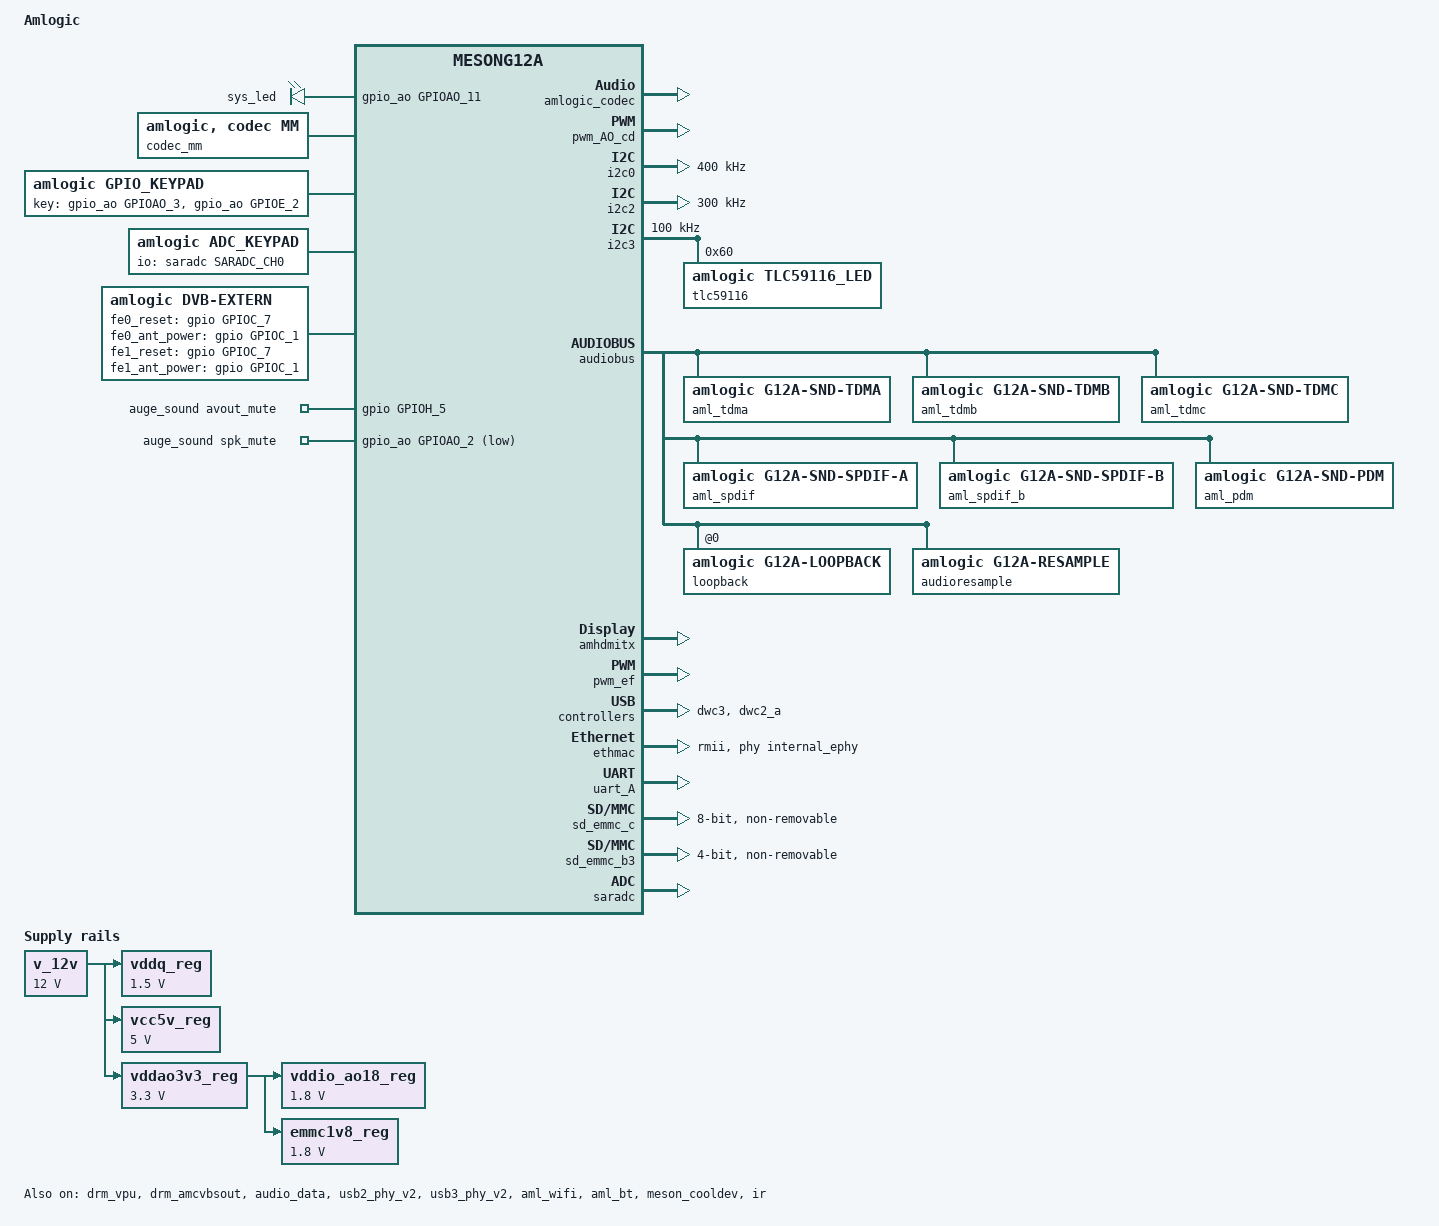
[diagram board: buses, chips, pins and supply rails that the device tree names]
// SPDX-License-Identifier: (GPL-2.0+ OR MIT)
/*
 * Copyright (c) 2019 Amlogic, Inc. All rights reserved.
 */

/dts-v1/;

#include "mesong12a.dtsi"
#include "partition_mbox_normal_dynamic.dtsi"
#include "mesong12a_drm.dtsi"
/ {
	model = "Amlogic";
	amlogic-dt-id = "g12a_u215_2g";
	compatible = "amlogic, g12a";
	interrupt-parent = <&gic>;
	#address-cells = <2>;
	#size-cells = <2>;

	aliases {
		serial0 = &uart_AO;
		serial1 = &uart_A;
		serial2 = &uart_B;
		serial3 = &uart_C;
		serial4 = &uart_AO_B;
		tsensor0 = &p_tsensor;
		tsensor1 = &d_tsensor;
		i2c0 = &i2c0;
		i2c1 = &i2c1;
		i2c2 = &i2c2;
		i2c3 = &i2c3;
		i2c4 = &i2c_AO;
		spi0 = &spicc0;
		spi1 = &spicc1;
	};

	memory@00000000 {
		device_type = "memory";
		linux,usable-memory = <0x0 0x000000 0x0 0x80000000>;
	};

	reserved-memory {
		#address-cells = <2>;
		#size-cells = <2>;
		ranges;
		/* global autoconfigured region for contiguous allocations */
		ramoops@0x07400000 {
			compatible = "ramoops";
			reg = <0x0 0x07400000 0x0 0x00100000>;
			record-size = <0x20000>;
			console-size = <0x40000>;
			ftrace-size = <0x80000>;
			pmsg-size = <0x20000>;
		};
		debug_reserved:linux,iotrace {
			compatible = "amlogic, iotrace";
			reg = <0x0 0x04f00000 0x0 0x00100000>;
			io-size = <0x1b000>;
			sched-size = <0x2000>;
			irq-size = <0x1000>;
			smc-size = <0x1000>;
			misc-size = <0x1000>;
		};
		defendkey_reserved:linux,defendkey {
			compatible = "amlogic, defendkey";
			reg = <0x0 0x04e00000 0x0 0x100000>;
		};
		secmon_reserved:linux,secmon {
			compatible = "shared-dma-pool";
			/*reusable;*/
			no-map;
			size = <0x0 0x400000>;
			alignment = <0x0 0x400000>;
			alloc-ranges = <0x0 0x05000000 0x0 0x2400000>;
		};

		logo_reserved:linux,meson-fb {
			compatible = "amlogic, meson-fb";
			alignment = <0x0 0x400000>;
			reg = <0x0 0x7f800000 0x0 0x800000>;
		};
		ion_cma_reserved:linux,ion-dev {
			compatible = "shared-dma-pool";
			reusable;
			size = <0x0 0x0>;
			alignment = <0x0 0x400000>;
		};
		ion_fb_reserved:linux,ion-fb {
			compatible = "shared-dma-pool";
			reusable;
			size = <0x0 0x0>;
			alignment = <0x0 0x400000>;
		};
		dmaheap_fb_reserved:heap-fb {
			compatible = "shared-dma-pool";
			reusable;
			/* 1080p STB androidT size 56M */
			size = <0x0 0x3800000>;
			alignment = <0x0 0x400000>;
		};
		dmaheap_cma_reserved:heap-gfx {
			compatible = "shared-dma-pool";
			reusable;
			size = <0x0 0x5800000>;
			alignment = <0x0 0x400000>;
		};
		dmaheap_secure_reserved:heap-secure {
			compatible = "amlogic, heap-secure-mem";
			no-map;
			size = <0x0 0x0>;
			alignment = <0x0 0x400000>;
		};
		//di_reserved:linux,di {
			//compatible = "amlogic, di-mem";
			/* buffer_size = 3621952(yuv422 8bit) */
			/* 4179008(yuv422 10bit full pack mode) */
			/** 10x3621952=34.6M(0x23) support 8bit **/
			/** 10x4736064=45.2M(0x2e) support 12bit **/
			/** 10x4179008=40M(0x28) support 10bit **/
			//size = <0x0 0x2800000>;
			//no-map;
		//};
		/*di CMA pool */
		di_cma_reserved:linux,di_cma {
			compatible = "shared-dma-pool";
			reusable;
			/* buffer_size = 3621952(yuv422 8bit)
			 *  | 4736064(yuv422 10bit)
			 *  | 4074560(yuv422 10bit full pack mode)
			 * 10x3621952=34.6M(0x23) support 8bit
			 * 10x4736064=45.2M(0x2e) support 12bit
			 * 10x4074560=40M(0x28) support 10bit
			 */
			//size = <0x0 0x02800000>;
			//alignment = <0x0 0x400000>;
		};
		/*  POST PROCESS MANAGER */
		ppmgr_reserved:linux,ppmgr {
			compatible = "shared-dma-pool";
			size = <0x0 0x0>;
		};

		codec_mm_cma:linux,codec_mm_cma {
			compatible = "shared-dma-pool";
			reusable;
			/* ion_codec_mm max can alloc size 80M*/
			size = <0x0 0x13400000>;
			alignment = <0x0 0x400000>;
			linux,contiguous-region;
		};
		/* codec shared reserved */
		codec_mm_reserved:linux,codec_mm_reserved {
			compatible = "amlogic, codec-mm-reserved";
			size = <0x0 0x0>;
			alignment = <0x0 0x100000>;
			//no-map;
		};
		/*  vdin1 CMA pool */
		vdin1_cma_reserved:linux,vdin1_cma {
			compatible = "shared-dma-pool";
			reusable;
			/* up to 1920x1080 yuv422 8bit and 5 buffers
			 * 1920x1080x2x5 = 20 M
			 */
			size = <0x0 0x01400000>;
			alignment = <0x0 0x400000>;
		};
	};

	amlogic_battery:dummy-battery {
		compatible = "amlogic, dummy-battery";
		status = "disabled";
	};

	amlogic_charger:dummy-charger {
		compatible = "amlogic, dummy-charger";
		status = "disabled";
	};

	gpioleds {
		compatible = "gpio-leds";
		status = "okay";

		sys_led {
			label="sys_led";
			gpios=<&gpio_ao GPIOAO_11 GPIO_ACTIVE_HIGH>;
			default-state ="on";
		};
	};

	codec_mm {
		compatible = "amlogic, codec, mm";
		memory-region = <&codec_mm_cma &codec_mm_reserved>;
		dev_name = "codec_mm";
		status = "okay";
	};

	picdec {
		compatible = "amlogic, picdec";
		dev_name = "picdec";
		status = "okay";
	};

	ppmgr {
		compatible = "amlogic, ppmgr";
		memory-region = <&ppmgr_reserved>;
		dev_name = "ppmgr";
		status = "okay";
	};

	deinterlace {
		compatible = "amlogic, deinterlace";
		status = "disabled";
		/* 0:use reserved; 1:use cma; 2:use cma as reserved */
		flag_cma = <1>;
		//memory-region = <&di_reserved>;
		memory-region = <&di_cma_reserved>;
		interrupts = <0 46 1
				0 40 1>;
		interrupt-names = "pre_irq", "post_irq";
		//clocks = <&clkc CLKID_VPU_CLKB_TMP_COMP>,
		//	<&clkc CLKID_VPU_CLKB_COMP>;
		//clock-names = "vpu_clkb_tmp_composite",
		//	"vpu_clkb_composite";
		clock-range = <334 667>;
		/* buffer-size = <3621952>;(yuv422 8bit) */
		buffer-size = <4074560>;/*yuv422 fullpack*/
		/* reserve-iomap = "true"; */
		/* if enable nr10bit, set nr10bit-support to 1 */
		post-wr-support = <1>;
		nr10bit-support = <1>;
		nrds-enable = <1>;
		pps-enable = <1>;
	};

	multi-di {
		compatible = "amlogic, dim-g12a";
		status = "okay";
		/* 0:use reserved; 1:use cma; 2:use cma as reserved */
		flag_cma = <4>;	//<1>;
		//memory-region = <&di_reserved>;
		//memory-region = <&di_cma_reserved>;
		interrupts = <0 46 1
				0 40 1>;
		interrupt-names = "pre_irq", "post_irq";
		clocks = <&clkc CLKID_VPU_CLKB>,
			<&clkc CLKID_VPU>;
		clock-names = "vpu_clkb",
			"vpu_mux";
		clock-range = <334 667>;
		/* buffer-size = <3621952>;(yuv422 8bit) */
		buffer-size = <4074560>;/*yuv422 fullpack*/
		/* reserve-iomap = "true"; */
		/* if enable nr10bit, set nr10bit-support to 1 */
		post-wr-support = <1>;
		nr10bit-support = <1>;
		nrds-enable = <1>;
		pps-enable = <1>;
	};

	ionvideo {
		compatible = "amlogic, ionvideo";
		dev_name = "ionvideo";
		status = "okay";
	};

	amlvideo2_0 {
		compatible = "amlogic, amlvideo2";
		dev_name = "amlvideo2";
		status = "okay";
		amlvideo2_id = <0>;
		cma_mode = <1>;
	};

	amlvideo2_1 {
		compatible = "amlogic, amlvideo2";
		dev_name = "amlvideo2";
		status = "okay";
		amlvideo2_id = <1>;
		cma_mode = <1>;
	};

	gpio_keypad {
		compatible = "amlogic, gpio_keypad";
		status = "okay";
		scan_period = <20>;
		key_num = <2>;
		key_name = "bluetooth", "mute";
		key_code = <600 SW_MUTE_DEVICE>;
		key_type = <EV_KEY EV_SW>;
		key-gpios = <&gpio_ao GPIOAO_3 GPIO_ACTIVE_HIGH
			     &gpio_ao GPIOE_2 GPIO_ACTIVE_HIGH>;
		/* 0:polling mode, 1:irq mode */
		detect_mode = <0>;
	};

	adc_keypad {
		compatible = "amlogic, adc_keypad";
		status = "okay";
		key_name = "vol-", "vol+", "power";
		key_num = <3>;
		io-channels = <&saradc SARADC_CH0>;
		io-channel-names = "key-chan-0";
		key_chan = <SARADC_CH0 SARADC_CH0 SARADC_CH0>;
		key_code = <KEY_VOLUMEDOWN KEY_VOLUMEUP KEY_POWER>;
		/* val = voltage / 1800mV * 1023 */
		key_val = <630 910 20>;
		key_tolerance = <40 40 40>;
	};

	dvb-extern {
		compatible = "amlogic, dvb-extern";
		dev_name = "dvb-extern";
		status = "okay";

		fe_num = <2>;
		fe0_demod = "cxd2856";
		fe0_i2c_adap_id = <&i2c2>;
		fe0_demod_i2c_addr = <0xD8>;
		fe0_reset_value = <0>;
		fe0_reset_gpio = <&gpio GPIOC_7 GPIO_ACTIVE_HIGH>;
		fe0_reset_dir = <1>; /* 0: out, 1: in. */
		fe0_ant_poweron_value = <0>;
		fe0_ant_power_gpio = <&gpio GPIOC_1 GPIO_ACTIVE_HIGH>;
		fe0_ts  = <0>;
		fe0_tuner0 = <0>; /* T/C */
		fe0_tuner1 = <1>; /* S */

		fe1_demod = "cxd2856";
		fe1_i2c_adap_id = <&i2c2>;
		fe1_demod_i2c_addr = <0xCA>;
		fe1_reset_value = <0>;
		fe1_reset_gpio = <&gpio GPIOC_7 GPIO_ACTIVE_HIGH>;
		fe1_reset_dir = <1>; /* 0: out, 1: in. */
		fe1_ant_poweron_value = <0>;
		fe1_ant_power_gpio = <&gpio GPIOC_1 GPIO_ACTIVE_HIGH>;
		fe1_ts  = <1>;
		fe1_tuner0 = <0>; /* T/C */
		fe1_tuner1 = <1>; /* S */

		tuner_num = <2>; /* for extern demod use tuner */
		tuner0_name = "r836_tuner";
		tuner1_name = "av2018_tuner";
	};

	dvb-demux {
		compatible = "amlogic, dvb-demux";
		dev_name = "dvb-demux";
		status = "okay";

		dmx =<&demux>;

		ts0 = "serial";
		ts0_control = <0x800>;
		ts0_invert = <0>;

		ts1 = "serial";
		ts1_control = <0x800>;
		ts1_invert = <0>;

		pinctrl-names = "s_ts0", "s_ts1";
		pinctrl-0 = <&dvb_s_ts0_pins>;
		pinctrl-1 = <&dvb_s_ts1_pins>;
		clocks = <&clkc CLKID_DEMUX
		&clkc CLKID_AHB_ARB0
		&clkc CLKID_PARSER>;
		clock-names = "demux", "ahbarb0", "parser_top";
	};

	/*this just for U212-D814(dual demod)*/
	/* dvb-extern {
	 *   compatible = "amlogic, dvb-extern";
	 *   dev_name = "dvb-extern";
	 *   status = "disabled";

	 *   tuner_num = <4>;
	 *   tuner0_name = "si2151_tuner";
	 *   tuner0_i2c_addr = <0x61>;//dvb-t addr
	 *   tuner0_code = <0x2151>;

	 *   tuner1_name = "av2018_tuner";
	 *   tuner1_i2c_addr = <0x62>;//dvb-s addr
	 *   tuner1_code = <0xA2018>;

	 *   tuner2_name = "si2151_tuner";
	 *   tuner2_i2c_addr = <0x62>;//dvb-t addr
	 *   tuner2_code = <0x2151>;

	 *   tuner3_name = "av2018_tuner";
	 *   tuner3_i2c_addr = <0x63>;//dvb-s addr
	 *   tuner3_code = <0xA2018>;

	 *   fe_num = <2>;
	 *   fe0_demod = "Si2168";
	 *   fe0_i2c_adap_id = <&i2c2>;
	 *   fe0_demod_i2c_addr = <0x64>;
	 *   fe0_ts = <1>;
	 *   fe0_reset_value = <0>;
	 *   fe0_reset_gpio = <&gpio GPIOZ_1 GPIO_ACTIVE_HIGH>;
	 *   fe0_tuner0 = <0>; // demod internal T/C tuner
	 *   fe0_tuner1 = <1>; // demod internal S/S2 tuner

	 *   fe1_demod = "Si2168";
	 *   fe1_i2c_adap_id = <&i2c2>;
	 *   fe1_demod_i2c_addr = <0x67>;
	 *   fe1_ts = <0>;
	 *   fe1_reset_value = <0>;
	 *   fe1_reset_gpio = <&gpio GPIOZ_0 GPIO_ACTIVE_HIGH>;
	 *   fe1_tuner0 = <2>; // demod internal T/C tuner
	 *   fe1_tuner1 = <3>; // demod internal S/S2 tuner
	 * };
	 */

	/* demux {
	 *   compatible = "amlogic, dvb-demux";
	 *   dev_name = "dvb-demux";

	 *   ts1 = "parallel";
	 *   ts1_control = <0>;
	 *   ts1_invert = <0>;

	 *   ts0 = "serial";
	 *   ts0_control = <0x800>;
	 *   ts0_invert = <0>;

	 *   interrupts = <0 23 1
	 *   0 5 1
	 *   0 21 1
	 *   0 19 1
	 *   0 25 1
	 *   0 18 1
	 *   0 24 1>;
	 *   interrupt-names = "demux0_irq",
	 *   "demux1_irq",
	 *   "demux2_irq",
	 *   "dvr0_irq",
	 *   "dvr1_irq",
	 *   "dvrfill0_fill",
	 *   "dvrfill1_flush";
	 *   pinctrl-names = "s_ts0","p_ts1";
	 *   pinctrl-0 = <&dvb_s_ts0_pins>;
	 *   pinctrl-1 = <&dvb_p_ts1_pins>;

	 *   clocks = <&clkc CLKID_DEMUX
	 *   &clkc CLKID_AHB_ARB0
	 *   &clkc CLKID_DOS_PARSER>;
	 *   clock-names = "demux", "ahbarb0", "parser_top";
	 * };
	 */

	unifykey{
		compatible = "amlogic,unifykey";
		status = "ok";
		unifykey-num = <31>;
		unifykey-index-0 = <&keysn_0>;
		unifykey-index-1 = <&keysn_1>;
		unifykey-index-2 = <&keysn_2>;
		unifykey-index-3 = <&keysn_3>;
		unifykey-index-4 = <&keysn_4>;
		unifykey-index-5 = <&keysn_5>;
		unifykey-index-6 = <&keysn_6>;
		unifykey-index-7 = <&keysn_7>;
		unifykey-index-8 = <&keysn_8>;
		unifykey-index-9 = <&keysn_9>;
		unifykey-index-10= <&keysn_10>;
		unifykey-index-11= <&keysn_11>;
		unifykey-index-12= <&keysn_12>;
		unifykey-index-13= <&keysn_13>;
		unifykey-index-14= <&keysn_14>;
		unifykey-index-15= <&keysn_15>;
		unifykey-index-16= <&keysn_16>;
		unifykey-index-17= <&keysn_17>;
		unifykey-index-18= <&keysn_18>;
		unifykey-index-19= <&keysn_19>;
		unifykey-index-20= <&keysn_20>;
		unifykey-index-21= <&keysn_21>;
		unifykey-index-22= <&keysn_22>;
		unifykey-index-23= <&keysn_23>;
		unifykey-index-24= <&keysn_24>;
		unifykey-index-25= <&keysn_25>;
		unifykey-index-26= <&keysn_26>;
		unifykey-index-27= <&keysn_27>;
		unifykey-index-28= <&keysn_28>;
		unifykey-index-29= <&keysn_29>;
		unifykey-index-30= <&keysn_30>;
		keysn_0: key_0{
			key-name = "usid";
			key-device = "normal";
			key-permit = "read","write","del";
		};
		keysn_1:key_1{
			key-name = "mac";
			key-device = "normal";
			key-permit = "read","write","del";
		};
		keysn_2:key_2{
			key-name = "hdcp";
			key-device = "secure";
			key-type = "sha1";
			key-permit = "read","write","del";
		};
		keysn_3:key_3{
			key-name = "secure_boot_set";
			key-device = "efuse";
			key-permit = "write";
		};
		keysn_4:key_4{
			key-name = "mac_bt";
			key-device = "normal";
			key-permit = "read","write","del";
			key-type  = "mac";
		};
		keysn_5:key_5{
			key-name = "mac_wifi";
			key-device = "normal";
			key-permit = "read","write","del";
			key-type = "mac";
		};
		keysn_6:key_6{
			key-name = "hdcp2_tx";
			key-device = "normal";
			key-permit = "read","write","del";
		};
		keysn_7:key_7{
			key-name = "hdcp2_rx";
			key-device = "normal";
			key-permit = "read","write","del";
		};
		keysn_8:key_8{
			key-name = "widevinekeybox";
			key-device = "secure";
			key-permit = "read","write","del";
		};
		keysn_9:key_9{
			key-name = "deviceid";
			key-device = "normal";
			key-permit = "read","write","del";
		};
		keysn_10:key_10{
			key-name = "hdcp22_fw_private";
			key-device = "secure";
			key-permit = "read","write","del";
		};
		keysn_11:key_11{
			key-name = "PlayReadykeybox25";
			key-device = "secure";
			key-permit = "read","write","del";
		};
		keysn_12:key_12{
			key-name = "prpubkeybox";// PlayReady
			key-device = "secure";
			key-permit = "read","write","del";
		};
		keysn_13:key_13{
			key-name = "prprivkeybox";// PlayReady
			key-device = "secure";
			key-permit = "read","write","del";
		};
		keysn_14:key_14{
			key-name = "attestationkeybox";// attestation key
			key-device = "secure";
			key-permit = "read","write","del";
		};
		keysn_15:key_15{
			key-name = "netflix_mgkid";
			key-device = "secure";
			key-permit = "read","write","del";
		};
		keysn_16:key_16{
			key-name = "attestationdevidbox";// attest dev id box
			key-device = "secure";
			key-permit = "read","write","del";
		};
		keysn_17:key_17{
			key-name = "oemkey";
			key-device = "normal";
			key-permit = "read","write","del";
		};
		keysn_18:key_18{
			key-name = "KEY_WIDEVINE";
			key-device = "provision";
			key-permit = "read","write","del";
		};
		keysn_19:key_19{
			key-name = "KEY_PLAYREADY_PRIVATE";
			key-device = "provision";
			key-permit = "read","write","del";
		};
		keysn_20:key_20{
			key-name = "KEY_PLAYREADY_PUBLIC";
			key-device = "provision";
			key-permit = "read","write","del";
		};
		keysn_21:key_21{
			key-name = "KEY_HDCP_TX14";
			key-device = "provision";
			key-permit = "read","write","del";
		};
		keysn_22:key_22{
			key-name = "KEY_HDCP_TX22";
			key-device = "provision";
			key-permit = "read","write","del";
		};
		keysn_23:key_23{
			key-name = "KEY_HDCP_RX14";
			key-device = "provision";
			key-permit = "read","write","del";
		};
		keysn_24:key_24{
			key-name = "KEY_HDCP_RX22";
			key-device = "provision";
			key-permit = "read","write","del";
		};
		keysn_25:key_25{
			key-name = "KEY_HDCP_RX22_FW";
			key-device = "provision";
			key-permit = "read","write","del";
		};
		keysn_26:key_26{
			key-name = "KEY_HDCP_RX22_FW_PRIVATE";
			key-device = "provision";
			key-permit = "read","write","del";
		};
		keysn_27:key_27{
			key-name = "KEY_KEYMASTER3";
			key-device = "provision";
			key-permit = "read","write","del";
		};
		keysn_28:key_28{
			key-name = "PROVISION_FIELD_ID";
			key-device = "provision";
			key-permit = "read","write","del";
		};
		keysn_29:key_29{
			key-name = "PROVISION_FIELD_PROTECT_KEY";
			key-device = "provision";
			key-permit = "read","write","del";
		};
		keysn_30:key_30{
			key-name = "KEY_KM3_ATTEST_DEV_ID_BOX";
			key-device = "provision";
			key-permit = "read","write","del";
		};
	};//End unifykey

	efusekey:efusekey{
		keynum = <4>;
		key0 = <&key_0>;
		key1 = <&key_1>;
		key2 = <&key_2>;
		key3 = <&key_3>;
		key_0:key_0{
			keyname = "mac";
			offset = <0>;
			size = <6>;
		};
		key_1:key_1{
			keyname = "mac_bt";
			offset = <6>;
			size = <6>;
		};
		key_2:key_2{
			keyname = "mac_wifi";
			offset = <12>;
			size = <6>;
		};
		key_3:key_3{
			keyname = "usid";
			offset = <18>;
			size = <16>;
		};
	};//End efusekey

	amlvecm {
		compatible = "amlogic, vecm";
		dev_name = "aml_vecm";
		status = "okay";
		gamma_en = <0>;/*1:enable ;0:disable*/
		wb_en = <0>;/*1:enable ;0:disable*/
		cm_en = <0>;/*1:enable ;0:disable*/
		/*0: 709/601  1: bt2020*/
		tx_op_color_primary = <0>;
	};

	amdolby_vision {
		compatible = "amlogic, dolby_vision_g12a";
		dev_name = "aml_amdolby_vision_driver";
		status = "okay";
		tv_mode = <0>;/*1:enable ;0:disable*/
	};

	v_12v: fixed@v_12v {
		compatible = "regulator-fixed";
		regulator-name = "v_12v";
		regulator-min-microvolt = <12000000>;
		regulator-max-microvolt = <12000000>;
		regulator-always-on;
	};

	vddq_reg: fixed@vddq_reg{
		compatible = "regulator-fixed";
		vin-supply = <&v_12v>;
		regulator-name = "VDDQ1.5V";
		regulator-min-microvolt = <1500000>;
		regulator-max-microvolt = <1500000>;
		regulator-boot-on;
		regulator-always-on;
	};

	vcc5v_reg: fixed@v_5v_reg{
		compatible = "regulator-fixed";
		vin-supply = <&v_12v>;
		regulator-name = "VCC5V";
		regulator-min-microvolt = <5000000>;
		regulator-max-microvolt = <5000000>;
		// VCC5V_EN (GPIOH_8-Hiz OD)
		//gpio = <&gpio_ao GPIOH_8 GPIO_ACTIVE_HIGH>;
		startup-delay-us = <70000>;
		enable-active-high;
		regulator-boot-on;
		regulator-always-on;
	};

	vddao3v3_reg: fixed@vddao3v3_reg{
		vin-supply = <&v_12v>;
		compatible = "regulator-fixed";
		regulator-name = "VDDAO_3.3V";
		regulator-min-microvolt = <3300000>;
		regulator-max-microvolt = <3300000>;
		regulator-boot-on;
		regulator-always-on;
	};

	vddio_ao18_reg: fixed@vddio_ao18_reg{
		compatible = "regulator-fixed";
		vin-supply = <&vddao3v3_reg>;
		regulator-name = "VDDIO_AO18";
		regulator-min-microvolt = <1800000>;
		regulator-max-microvolt = <1800000>;
		regulator-boot-on;
		//regulator-always-on;
	};

	emmc1v8_reg: fixed@emmc1v8_reg{
		compatible = "regulator-fixed";
		vin-supply = <&vddao3v3_reg>;
		regulator-name = "EMMC_1V8";
		regulator-min-microvolt = <1800000>;
		regulator-max-microvolt = <1800000>;
		regulator-boot-on;
		//regulator-always-on;
	};

	/* Audio Related start */
	pdm_codec:dummy{
		#sound-dai-cells = <0>;
		compatible = "amlogic, pdm_dummy_codec";
		status = "okay";
	};
	dummy_codec:dummy{
		#sound-dai-cells = <0>;
		compatible = "amlogic, aml_dummy_codec";
		status = "okay";
	};
	amlogic_codec:t9015{
		#sound-dai-cells = <0>;
		compatible = "amlogic, aml_codec_T9015";
		reg = <0x0 0xFF632000 0x0 0x2000>;
		is_auge_used = <1>; /* meson or auge chipset used */
		tdmout_index = <1>;
		status = "okay";
	};
	audio_effect:eqdrc{
		/*eq_enable = <1>;*/
		/*drc_enable = <1>;*/
		/*
		 * 0:tdmout_a
		 * 1:tdmout_b
		 * 2:tdmout_c
		 * 3:spdifout
		 * 4:spdifout_b
		 */
		eqdrc_module = <1>;
		/* max 0xf, each bit for one lane, usually one lane */
		lane_mask = <0x1>;
		/* max 0xff, each bit for one channel */
		channel_mask = <0x3>;
	};
	auge_sound {
		compatible = "amlogic, auge-sound-card";
		aml-audio-card,name = "AML-AUGESOUND";

		aml-audio-card,aux-devs = <&amlogic_codec>;
		/*avout mute gpio*/
		avout_mute-gpios = <&gpio GPIOH_5 GPIO_ACTIVE_HIGH>;
		spk_mute-gpios = <&gpio_ao GPIOAO_2 GPIO_ACTIVE_LOW>;
		/*for audio effect ,eqdrc */
		aml-audio-card,effect = <&audio_effect>;

		aml-audio-card,dai-link@0 {
			format = "dsp_a";
			mclk-fs = <512>;
			//continuous-clock;
			//bitclock-inversion;
			//frame-inversion;
			//bitclock-master = <&tdmacodec>;
			//frame-master = <&tdmacodec>;
			/* suffix-name, sync with android audio hal
			 * what's the dai link used for
			 */
			suffix-name = "alsaPORT-pcm";
			tdmacpu: cpu {
				sound-dai = <&aml_tdma>;
				dai-tdm-slot-tx-mask =
							<1 1 1 1 1 1 1 1>;
				dai-tdm-slot-rx-mask =
							<1 1 1 1 1 1 1 1>;
				dai-tdm-slot-num = <8>;
				dai-tdm-slot-width = <32>;
				system-clock-frequency = <24576000>;
			};
			tdmacodec: codec {
				sound-dai = <&dummy_codec &dummy_codec>;
			};
		};

		aml-audio-card,dai-link@1 {
			format = "i2s";// "dsp_a";
			mclk-fs = <256>;
			//continuous-clock;
			//bitclock-inversion;
			//frame-inversion;
			bitclock-master = <&aml_tdmb>;
			frame-master = <&aml_tdmb>;
			//bitclock-master = <&tdmbcodec>;
			//frame-master = <&tdmbcodec>;
			/* suffix-name, sync with android audio hal
			 * what's the dai link used for
			 */
			suffix-name = "alsaPORT-i2s";
			cpu {
				sound-dai = <&aml_tdmb>;
				dai-tdm-slot-tx-mask = <1 1>;
				dai-tdm-slot-rx-mask = <1 1>;
				dai-tdm-slot-num = <2>;
				/*
				 * dai-tdm-slot-tx-mask =
				 *	<1 1 1 1 1 1 1 1>;
				 * dai-tdm-slot-rx-mask =
				 *	<1 1 1 1 1 1 1 1>;
				 * dai-tdm-slot-num = <8>;
				 */
				dai-tdm-slot-width = <32>;
				system-clock-frequency = <12288000>;
			};
			tdmbcodec: codec {
				sound-dai = <&dummy_codec &dummy_codec
					&amlogic_codec>;
			};
		};

		aml-audio-card,dai-link@2 {
			format = "i2s";
			mclk-fs = <256>;
			//continuous-clock;
			//bitclock-inversion;
			//frame-inversion;
			bitclock-master = <&aml_tdmc>;
			frame-master = <&aml_tdmc>;
			/* suffix-name, sync with android audio hal
			 * what's the dai link used for
			 */
			//suffix-name = "alsaPORT-tdm";
			cpu {
				sound-dai = <&aml_tdmc>;
				dai-tdm-slot-tx-mask = <1 1>;
				dai-tdm-slot-rx-mask = <1 1>;
				dai-tdm-slot-num = <2>;
				dai-tdm-slot-width = <32>;
				system-clock-frequency = <12288000>;
			};
			codec {
				sound-dai = <&dummy_codec &dummy_codec>;
			};
		};

		aml-audio-card,dai-link@3 {
			mclk-fs = <64>;
			/* suffix-name, sync with android audio hal
			 * what's the dai link used for
			 */
			suffix-name = "alsaPORT-pdm-builtinmic";
			cpu {
				sound-dai = <&aml_pdm>;
			};
			codec {
				sound-dai = <&pdm_codec>;
			};
		};

		aml-audio-card,dai-link@4 {
			mclk-fs = <128>;
			continuous-clock;
			/* suffix-name, sync with android audio hal
			 * what's the dai link used for
			 */
			suffix-name = "alsaPORT-spdif";
			cpu {
				sound-dai = <&aml_spdif>;
				system-clock-frequency = <6144000>;
			};
			codec {
				sound-dai = <&dummy_codec>;
			};
		};
		/* spdif_b to hdmi, only playback */
		aml-audio-card,dai-link@5 {
			mclk-fs = <128>;
			continuous-clock;
			/* suffix-name, sync with android audio hal
			 * what's the dai link used for
			 */
			suffix-name = "alsaPORT-spdifb";
			cpu {
				sound-dai = <&aml_spdif_b>;
				system-clock-frequency = <6144000>;
			};
			codec {
				sound-dai = <&dummy_codec>;
			};
		};

		aml-audio-card,dai-link@6 {
			mclk-fs = <256>;
			continuous-clock;
			suffix-name = "alsaPORT-loopback";
			cpu {
				sound-dai = <&loopback>;
				system-clock-frequency = <12288000>;
			};
			codec {
				sound-dai = <&dummy_codec>;
			};
		};

		/*
		 * dai link for i2s to hdmix,
		 * Notice to select a tdm lane not used by hw
		 */
		/*
		 * aml-audio-card,dai-link@6 {
		 * format = "i2s";
		 * mclk-fs = <256>;
		 * //continuous-clock;
		 * //bitclock-inversion;
		 * //frame-inversion;
		 * bitclock-master = <&aml_i2s2hdmi>;
		 * frame-master = <&aml_i2s2hdmi>;
		 * suffix-name = "alsaPORT-i2s2hdmi";
		 * cpu {
		 * sound-dai = <&aml_i2s2hdmi>;
		 * dai-tdm-slot-tx-mask = <1 1>;
		 * dai-tdm-slot-num = <2>;
		 * dai-tdm-slot-width = <32>;
		 * system-clock-frequency = <12288000>;
		 * };
		 * codec {
		 * sound-dai = <&dummy_codec>;
		 * };
		 * };
		 */
	};
	audiolocker: locker {
		compatible = "amlogic, audiolocker";
		clocks = <&clkaudio CLKID_AUDIO_LOCKER_OUT
				&clkaudio CLKID_AUDIO_LOCKER_IN
				&clkaudio CLKID_AUDIO_MCLK_D
				&clkaudio CLKID_AUDIO_MCLK_E
				&clkc CLKID_MPLL1
				&clkc CLKID_MPLL2>;
		clock-names = "lock_out", "lock_in", "out_src",
					"in_src", "out_calc", "in_ref";
		interrupts = <GIC_SPI 1 IRQ_TYPE_EDGE_RISING>;
		interrupt-names = "irq";
		frequency = <49000000>; /* pll */
		dividor = <49>; /* locker's parent */
		status = "okay";
	};
	/* Audio Related end */
}; /* end of / */

&fb {
	status = "disabled";
	display_size_default = <1920 1080 1920 2160 32>;
	mem_size = <0x00800000 0x1980000 0x100000 0x100000 0x800000>;
	logo_addr = "0x7f800000";
	mem_alloc = <0>;
	pxp_mode = <0>; /** 0:normal mode 1:pxp mode */
};

&pwm_AO_cd {
		status = "okay";
};

&i2c0 {
	status = "okay";
	pinctrl-names="default";
	pinctrl-0=<&i2c0_master_pins2>;
	clock-frequency = <400000>;

	gt9xx@5d {
		compatible = "goodix,gt9xx";
		status = "disabled";
		reg = <0x5d>;
		reset-gpio = <&gpio GPIOZ_9 0x00>;
		irq-gpio = <&gpio GPIOZ_3 0x00>;
	};

	ftxx@38 {
		compatible = "focaltech,fts";
		status = "disabled";
		reg = <0x38>;
		reset-gpio = <&gpio GPIOZ_9 0x00>;
		irq-gpio = <&gpio GPIOZ_3 0x00>;
		x_max = <600>;
		y_max = <1024>;
		max-touch-number = <10>;
	};
};

/*
 *if use i2c2_master_pins2
 *please disable internal_eth_pins
 *in case pinmux conflict
 */
&i2c2 {
	status = "okay";
	pinctrl-names="default";
	pinctrl-0=<&i2c2_master_pins2>;
	clock-frequency = <300000>;
};

&i2c3 {
	status = "okay";
	pinctrl-names="default";
	pinctrl-0=<&i2c3_master_pins2>;
	clock-frequency = <100000>; /* default 100k */

	/* for led */
	tlc59116: tlc59116@60 {
		compatible = "amlogic,tlc59116_led";
		reg = <0x60>;
		status = "okay";

		led0 {
			default_colors = <0 0 0>;
			r_io_number = <0>;
			g_io_number = <10>;
			b_io_number = <5>;
		};

		led1 {
			default_colors = <0 0 0>;
			r_io_number = <1>;
			g_io_number = <11>;
			b_io_number = <6>;
		};

		led2 {
			default_colors = <0 0 0>;
			r_io_number = <2>;
			g_io_number = <12>;
			b_io_number = <7>;
		};

		led3 {
			default_colors = <0 0 0>;
			r_io_number = <3>;
			g_io_number = <13>;
			b_io_number = <8>;
		};
	};

	/* for ref board */
	ad82584f_62: ad82584f_62@31 {
		compatible = "ESMT, ad82584f";
		#sound-dai-cells = <0>;
		reg = <0x31>;
		status = "disabled";
		reset_pin = <&gpio GPIOA_5 0>;
	};

	tas5707_36: tas5707_36@1b {
		compatible = "ti,tas5707";
		#sound-dai-cells = <0>;
		reg = <0x1b>;
		status = "disabled";
		reset_pin = <&gpio GPIOA_5 0>;
	};

	bl_extern_i2c: bl_extern_i2c@2c {
		compatible = "amlogic, bl_extern_i2c";
		status = "disabled";
		reg = <0x2c>; /*reg_address for lp8556*/
		dev_name = "lp8556";
	};
};

&audiobus {
	aml_tdma: tdma {
		compatible = "amlogic, g12a-snd-tdma";
		#sound-dai-cells = <0>;
		dai-tdm-lane-slot-mask-in = <0 1>;
		dai-tdm-oe-lane-slot-mask-out = <1 0>;
		dai-tdm-clk-sel = <0>;
		clocks = <&clkaudio CLKID_AUDIO_MCLK_A
				&clkc CLKID_MPLL0>;
		clock-names = "mclk", "clk_srcpll";
		pinctrl-names = "tdm_pins";
		pinctrl-0 = <&tdmout_a &tdmin_a>;
	};

	aml_tdmb: tdmb {
		compatible = "amlogic, g12a-snd-tdmb";
		#sound-dai-cells = <0>;
		dai-tdm-lane-slot-mask-in = <0 1 0 0>;
		dai-tdm-lane-slot-mask-out = <1 0 0 0>;
		dai-tdm-clk-sel = <1>;
		clocks = <&clkaudio CLKID_AUDIO_MCLK_B
				&clkc CLKID_MPLL1
				&clkc CLKID_MPLL0
				&clkaudio CLKID_AUDIO_SPDIFOUT_CTRL>;
		clock-names = "mclk", "clk_srcpll",
			"samesource_srcpll", "samesource_clk";
		pinctrl-names = "tdm_pins";
		pinctrl-0 = <&tdmb_mclk &tdmout_b &tdmin_b>;
		mclk_pad = <0>;  /* 0: mclk_0; 1: mclk_1 */
		/*
		 * 0: tdmout_a;
		 * 1: tdmout_b;
		 * 2: tdmout_c;
		 * 3: spdifout;
		 * 4: spdifout_b;
		 */
		samesource_sel = <3>;
		/*enable default mclk(12.288M), before extern codec start*/
		start_clk_enable = <1>;

		/*tdm clk tuning enable*/
		clk_tuning_enable = <1>;
	};

	aml_tdmc: tdmc {
		compatible = "amlogic, g12a-snd-tdmc";
		#sound-dai-cells = <0>;
		dai-tdm-lane-slot-mask-in = <0 1 0 0>;
		#dai-tdm-lane-slot-mask-out = <1 0 1 1>;
		#dai-tdm-lane-oe-slot-mask-in = <0 0 0 0>;
		dai-tdm-lane-oe-slot-mask-out = <1 0 0 0>;
		dai-tdm-clk-sel = <2>;
		clocks = <&clkaudio CLKID_AUDIO_MCLK_C
				&clkc CLKID_MPLL2>;
		clock-names = "mclk", "clk_srcpll";
		pinctrl-names = "tdm_pins";
		pinctrl-0 = <&tdmc_mclk &tdmout_c &tdmin_c>;
		mclk_pad = <1>;  /* 0: mclk_0; 1: mclk_1 */
	};

	tdmlb: tdm@3 {
		compatible = "amlogic, g12a-snd-tdmlb";
		#sound-dai-cells = <0>;
		dai-tdm-lane-lb-slot-mask-in = <1 0 0 0>;
		dai-tdm-clk-sel = <1>;
		clocks = <&clkaudio CLKID_AUDIO_MCLK_B
				&clkc CLKID_MPLL1>;
		clock-names = "mclk", "clk_srcpll";
		/*
		 * select tdmin_lb src;
		 *0: TDMOUTA
		 *1: TDMOUTB
		 *2: TDMOUTC
		 *3: PAD_TDMINA
		 *4: PAD_TDMINB
		 *5: PAD_TDMINC
		 */
		lb-src-sel = <1>;

		status = "disabled";
	};

	/* copy a useless tdm to output for hdmi, no pinmux */
	aml_i2s2hdmi: i2s2hdmi {
		compatible = "amlogic, g12a-snd-tdmc";
		#sound-dai-cells = <0>;
		dai-tdm-lane-slot-mask-out = <1 1 1 1>;
		dai-tdm-clk-sel = <2>;
		clocks = <&clkaudio CLKID_AUDIO_MCLK_C
				&clkc CLKID_MPLL2>;
		clock-names = "mclk", "clk_srcpll";

		i2s2hdmi = <1>;

		status = "disabled";
	};

	aml_spdif: spdif {
		compatible = "amlogic, g12a-snd-spdif-a";
		#sound-dai-cells = <0>;
		clocks = <&clkc CLKID_MPLL0
				&clkc CLKID_FCLK_DIV4
				&clkaudio CLKID_AUDIO_SPDIFIN
				&clkaudio CLKID_AUDIO_SPDIFOUT
				&clkaudio CLKID_AUDIO_SPDIFIN_CTRL
				&clkaudio CLKID_AUDIO_SPDIFOUT_CTRL>;
		clock-names = "sysclk", "fixed_clk", "gate_spdifin",
				"gate_spdifout", "clk_spdifin", "clk_spdifout";
		interrupts =
				<GIC_SPI 151 IRQ_TYPE_EDGE_RISING>;

		interrupt-names = "irq_spdifin";
		pinctrl-names = "spdif_pins",
				"spdif_pins_mute";
		pinctrl-0 = <&spdifout>;
		pinctrl-1 = <&spdifout_a_mute>;
		status = "okay";
		/*spdif clk tuning enable*/
		clk_tuning_enable = <1>;
	};
	aml_spdif_b: spdif_b {
		compatible = "amlogic, g12a-snd-spdif-b";
		#sound-dai-cells = <0>;
		clocks = <&clkc CLKID_MPLL0 /*CLKID_HIFI_PLL*/
				&clkaudio CLKID_AUDIO_SPDIFOUTB
				&clkaudio CLKID_AUDIO_SPDIFOUTB_CTRL>;
		clock-names = "sysclk",
				"gate_spdifout", "clk_spdifout";
		status = "okay";
	};
	aml_pdm: pdm {
		compatible = "amlogic, g12a-snd-pdm";
		#sound-dai-cells = <0>;
		clocks = <&clkaudio CLKID_AUDIO_PDM
			&clkc CLKID_FCLK_DIV3
			&clkc CLKID_MPLL3
			&clkaudio CLKID_AUDIO_PDMIN0
			&clkaudio CLKID_AUDIO_PDMIN1>;
		clock-names = "gate",
			"sysclk_srcpll",
			"dclk_srcpll",
			"pdm_dclk",
			"pdm_sysclk";
		pinctrl-names = "pdm_pins";
		pinctrl-0 = <&pdmin>;
		filter_mode = <1>; /* mode 0~4, defalut:1 */
		status = "okay";
	};

	loopback:loopback@0 {
		compatible = "amlogic, g12a-loopback";
		#sound-dai-cells = <0>;

		clocks = <&clkaudio CLKID_AUDIO_PDM
			&clkc CLKID_FCLK_DIV3
			&clkc CLKID_MPLL3
			&clkaudio CLKID_AUDIO_PDMIN0
			&clkaudio CLKID_AUDIO_PDMIN1
			&clkc CLKID_MPLL0
			&clkaudio CLKID_AUDIO_MCLK_A>;
		clock-names = "pdm_gate",
			"pdm_sysclk_srcpll",
			"pdm_dclk_srcpll",
			"pdm_dclk",
			"pdm_sysclk",
			"tdminlb_mpll",
			"tdminlb_mclk";

		/* datain src
		 * 0: tdmin_a;
		 * 1: tdmin_b;
		 * 2: tdmin_c;
		 * 3: spdifin;
		 * 4: pdmin;
		 */
		datain_src = <4>;
		datain_chnum = <0>;
		datain_chmask = <0x3>;
		/* config which data pin for loopback */
		datain-lane-mask-in = <1 0 0 0>;

		/* calc mclk for datalb */
		mclk-fs = <256>;

		/* tdmin_lb src
		 * 0: tdmoutA
		 * 1: tdmoutB
		 * 2: tdmoutC
		 * 3: PAD_TDMINA_DIN*, refer to core pinmux
		 * 4: PAD_TDMINB_DIN*, refer to core pinmux
		 * 5: PAD_TDMINC_DIN*, refer to core pinmux
		 * 6: PAD_TDMINA_D*, oe, refer to core pinmux
		 * 7: PAD_TDMINB_D*, oe, refer to core pinmux
		 */
		/* if tdmin_lb >= 3, use external loopback */
		datalb_src = <1>;
		datalb_chnum = <2>;
		datalb_chmask = <0x3>;
		/* config which data pin as loopback */
		datalb-lane-mask-in = <1 0 0 0>;

		status = "okay";
	};

	audioresample: resample {
		compatible = "amlogic, g12a-resample";
		clocks = <&clkc CLKID_MPLL3
				&clkaudio CLKID_AUDIO_MCLK_F
				&clkaudio CLKID_AUDIO_RESAMPLE_CTRL>;
		clock-names = "resample_pll", "resample_src", "resample_clk";
		/*same with toddr_src
		 *	TDMIN_A, 0
		 *	TDMIN_B, 1
		 *	TDMIN_C, 2
		 *	SPDIFIN, 3
		 *	PDMIN,  4
		 *	NONE,
		 *	TDMIN_LB, 6
		 *	LOOPBACK, 7
		 */
		resample_module = <4>;
		status = "okay";
	};
	aml_pwrdet: pwrdet {
		compatible = "amlogic, g12a-power-detect";

		interrupts = <GIC_SPI 155 IRQ_TYPE_EDGE_RISING>;
		interrupt-names = "pwrdet_irq";

		/* pwrdet source sel
		 * 7: loopback;
		 * 6: tdmin_lb;
		 * 5: reserved;
		 * 4: pdmin;
		 * 3: spdifin;
		 * 2: tdmin_c;
		 * 1: tdmin_b;
		 * 0: tdmin_a;
		 */
		pwrdet_src = <4>;

		hi_th = <0x70000>;
		lo_th = <0x16000>;

		status = "disabled";
	};
}; /* end of audiobus */

&pinctrl_periphs {
	tdmout_a: tdmout_a {
		mux { /* GPIOX_11, GPIOX_10, GPIOX_9 */
			groups = "tdm_a_sclk",
				"tdm_a_fs",
				"tdm_a_dout0";
			function = "tdm_a";
		};
	};

	tdmin_a: tdmin_a {
		mux { /* GPIOX_8 */
			groups = "tdm_a_din1";
			function = "tdm_a";
		};
	};

	tdmb_mclk: tdmb_mclk {
		mux {
			groups = "mclk0_a";
			function = "mclk0";
			drive-strength = <2>;
		};
	};
	tdmout_b: tdmout_b {
		mux { /* GPIOA_1, GPIOA_2, GPIOA_3 */
			groups = "tdm_b_sclk",
				"tdm_b_fs",
				"tdm_b_dout0";
			function = "tdm_b";
			drive-strength = <2>;
		};
	};

	tdmin_b:tdmin_b {
		mux { /* GPIOA_4 */
			groups = "tdm_b_din1"
				/*,"tdmb_slv_sclk", "tdmb_slv_fs"*/;
			function = "tdm_b";
			drive-strength = <2>;
		};
	};

	tdmc_mclk: tdmc_mclk {
		mux { /* GPIOA_11 */
			groups = "mclk1_a";
			function = "mclk1";
		};
	};

	tdmout_c:tdmout_c {
		mux { /* GPIOA_12, GPIOA_13, GPIOA_10, GPIOA_8, GPIOA_7*/
			groups = "tdm_c_sclk_a",
				"tdm_c_fs_a",
				"tdm_c_dout0_a"
				/*,	"tdmc_dout2",
				 * "tdmc_dout3"
				 */;
			function = "tdm_c";
		};
	};

	tdmin_c:tdmin_c {
		mux { /* GPIOA_9 */
			groups = "tdm_c_din1_a";
			function = "tdm_c";
		};
	};

	spdifin: spdifin {
		mux {/* GPIOH_5 */
			groups = "spdif_in_h";
			function = "spdif_in";
		};
	};

	/* GPIOH_4 */
	//spdifout: spdifout {
	//	mux {
	//		groups = "spdif_out_h";
	//		function = "spdif_out";
	//	};
	//};

	//spdifout_a_mute: spdifout_a_mute {
	//	mux { /* GPIOH_4 */
	//		groups = "GPIOH_4";
	//		function = "gpio_periphs";
	//	};
	//};

	pdmin: pdmin {
		mux { /* GPIOC_0, GPIOC_4 */
			groups = "pdm_din0_c",
				"pdm_dclk_c";
			function = "pdm";
		};
	};

	dvb_s_ts1_pins: dvb_s_ts1_pins {
		tsin_b {
			groups = "tsin_b_sop_z",
				"tsin_b_valid_z",
				"tsin_b_clk_z",
				"tsin_b_din0_z";
			function = "tsin_b";
		};
	};

};/* end of pinctrl_periphs */

&pinctrl_aobus {
	spdifout: spdifout {
		mux { /* GPIOAO_10 */
			groups = "spdif_ao_out";
			function = "spdif_ao_out";
		};
	};

	spdifout_a_mute: spdifout_a_mute {
		mux { /* GPIOAO_10 */
			groups = "GPIOAO_10";
			function = "gpio_aobus";
		};
	};

	dvb_s_ts0_pins: dvb_s_ts0_pins {
		tsin_a {
			groups = "tsin_ao_asop",
			"tsin_ao_a_valid",
			"tsin_ao_aclk",
			"tsin_ao_adin0";
			function = "tsin_ao_a";
		};
	};

};  /* end of pinctrl_aobus */

&amhdmitx {
	status = "okay";
};

&drm_vpu {
	status = "okay";
	logo_addr = "0x7f800000";
};

&drm_amcvbsout {
	status = "okay";
};

&audio_data {
	status = "okay";
};

/* Audio Related End */

&pwm_ef {
	status = "okay";
};

&dwc3 {
	status = "okay";
};

&usb2_phy_v2 {
	status = "okay";
	portnum = <2>;
};

&usb3_phy_v2 {
	status = "okay";
	portnum = <1>;
	otg = <1>;
};

&dwc2_a {
	status = "okay";
	/** 0: normal, 1: otg+dwc3 host only, 2: otg+dwc3 device only*/
	controller-type = <3>;
};

&ethmac {
	status = "okay";
	phy-handle = <&internal_ephy>;
	phy-mode = "rmii";
};

&uart_A {
	status = "okay";
};

/*if you want to use vdin just modify status to "ok"*/
&vdin0 {
	/*memory-region = <&vdin0_cma_reserved>;*/
	/* status = "disabled"; */
	/* up to 1920x1080 yuv422 8bit and 5 buffers
	 * 1920x1080x2x5 = 20 M
	 */
	cma_size = <20>;
	/*vdin write mem color depth support:
	 *bit0:support 8bit
	 *bit1:support 9bit
	 *bit2:support 10bit
	 *bit3:support 12bit
	 *bit4:support yuv422 10bit full pack mode (from txl new add)
	 */
	tv_bit_mode = <0x1>;
};

&vdin1 {
	memory-region = <&vdin1_cma_reserved>;
	/* status = "disabled"; */
	/*vdin write mem color depth support:
	 *bit0:support 8bit
	 *bit1:support 9bit
	 *bit2:support 10bit
	 *bit3:support 12bit
	 */
	tv_bit_mode = <1>;
};

&sd_emmc_c {
	status = "okay";
	pinctrl-0 = <&emmc_pins>, <&emmc_ds_pins>;
	pinctrl-1 = <&emmc_clk_gate_pins>;
	pinctrl-names = "default", "clk-gate";

	bus-width = <8>;
	cap-mmc-highspeed;
	mmc-ddr-1_8v;
	mmc-hs200-1_8v;
	max-frequency = <200000000>;
	non-removable;
	disable-wp;

//	mmc-pwrseq = <&emmc_pwrseq>;
//	vmmc-supply = <&vddao_3v3>;
//	vqmmc-supply = <&vddao_1v8>;
};

&sd_emmc_b1 {
	status = "disabled";
	sd {
		pinctrl-0 = <&sdcard_pins>;
		pinctrl-1 = <&sdcard_clk_gate_pins>;
		pinctrl-2 = <&sd_1bit_pins>;

		pinctrl-names = "sd_default",
				"clk-gate",
				"sd_1bit_pins";
		cd-gpios = <&gpio GPIOC_6 GPIO_ACTIVE_HIGH>;

		bus-width = <4>;
		cap-sd-highspeed;
		max-frequency = <200000000>;
		disable-wp;
		card_type = <5>;
		no-sdio;
		no-mmc;
	};
};

&sd_emmc_b2 {
	status = "disabled";
	bus-width = <4>;
	cap-sd-highspeed;
	sd-uhs-sdr104;
	max-frequency = <200000000>;
	disable-wp;

	pinctrl-0 = <&sdio_x_clr_pins &sdcard_pins>;
	pinctrl-1 = <&sdio_x_clr_pins &sdcard_clk_gate_pins>;
	pinctrl-2 = <&sdio_x_clr_pins &sd_1bit_pins>;
	pinctrl-3 = <&sd_clr_all_pins>, <&sdio_x_en_pins>, <&sdio_pins>;
	pinctrl-4 = <&sd_clr_all_pins>, <&sdio_x_en_pins>, <&sdio_clk_gate_pins>;
	pinctrl-names = "sd_default",
			"sd_clk-gate",
			"sd_1bit_pins",
			"default",
			"sdio_clk-gate";

	cd-gpios = <&gpio GPIOC_6 GPIO_ACTIVE_HIGH>;

	cap-sdio-irq;
	non-removable;
	keep-power-in-suspend;

	no-sdio;
	no-mmc;
	no-sd;
};

&sd_emmc_b3 {
	status = "okay";
	bus-width = <4>;
	cap-sd-highspeed;
	sd-uhs-sdr104;
	max-frequency = <200000000>;
	disable-wp;

	pinctrl-0 = <&sdio_x_en_pins>, <&sdio_pins>;
	pinctrl-1 = <&sdio_x_en_pins>, <&sdio_clk_gate_pins>;
	pinctrl-names = "default",
			"sdio_clk-gate";
	cap-sdio-irq;
	non-removable;
	keep-power-in-suspend;

	no-mmc;
	no-sd;
};

&nand {
	status = "disabled";
	plat-names = "bootloader","nandnormal";
	plat-num = <2>;
	plat-part-0 = <&bootloader>;
	plat-part-1 = <&nandnormal>;
	bootloader: bootloader{
		enable_pad ="ce0";
		busy_pad = "rb0";
		timming_mode = "mode5";
		bch_mode = "bch8_1k";
		t_rea = <20>;
		t_rhoh = <15>;
		chip_num = <1>;
		part_num = <0>;
		rb_detect = <1>;
	};
	nandnormal: nandnormal{
		enable_pad ="ce0";
		busy_pad = "rb0";
		timming_mode = "mode5";
		bch_mode = "bch8_1k";
		plane_mode = "twoplane";
		t_rea = <20>;
		t_rhoh = <15>;
		chip_num = <2>;
		part_num = <3>;
		partition = <&nand_partitions>;
		rb_detect = <1>;
	};
	nand_partitions:nand_partition{
		/*
		 * if bl_mode is 1, tpl size was generate by
		 * fip_copies * fip_size which
		 * will not skip bad when calculating
		 * the partition size;
		 *
		 * if bl_mode is 0,
		 * tpl partition must be comment out.
		 */
		tpl{
			offset=<0x0 0x0>;
			size=<0x0 0x0>;
		};
		logo{
			offset=<0x0 0x0>;
			size=<0x0 0x200000>;
		};
		recovery{
			offset=<0x0 0x0>;
			size=<0x0 0x1000000>;
		};
		boot{
			offset=<0x0 0x0>;
			size=<0x0 0x1000000>;
		};
		system{
			offset=<0x0 0x0>;
			size=<0x0 0x4000000>;
		};
		data{
			offset=<0xffffffff 0xffffffff>;
			size=<0x0 0x0>;
		};
	};
};

&aml_wifi{
	status = "okay";
	interrupt-gpios = <&gpio  GPIOX_7  GPIO_ACTIVE_HIGH>;
	power_on-gpios = <&gpio   GPIOX_6  GPIO_ACTIVE_HIGH>;
};

&aml_bt {
	status = "okay";
	reset-gpios = <&gpio    GPIOX_17 GPIO_ACTIVE_HIGH>;
	hostwake-gpios = <&gpio GPIOX_19 GPIO_ACTIVE_HIGH>;
};

&pcie_A {
	reset-gpio = <&gpio GPIOX_7 GPIO_ACTIVE_HIGH>;
	status = "disable";
};

&meson_cooldev {
	status = "okay";
};

&saradc {
	status = "okay";
};

&ir {
	status = "okay";
	pinctrl-0 = <&remote_pins>;
	pinctrl-names = "default";
};

&spicc0 {
	status = "disabled";
	pinctrl-names = "default";
	pinctrl-0 = <&spicc0_pins_c>;
	cs-gpios = <&gpio GPIOC_2 GPIO_ACTIVE_HIGH>;
};
